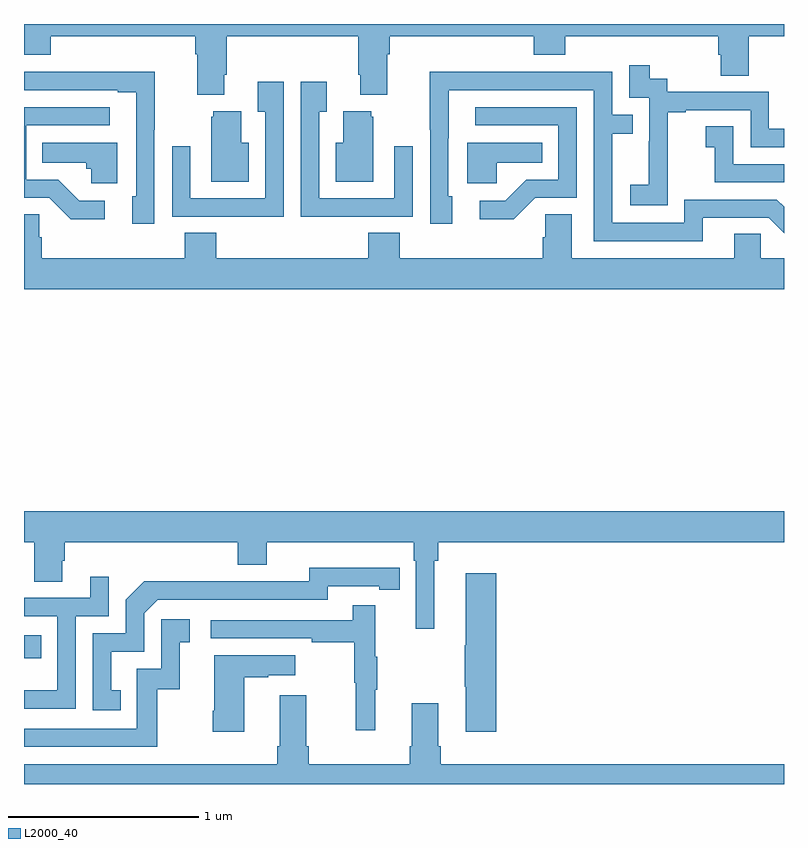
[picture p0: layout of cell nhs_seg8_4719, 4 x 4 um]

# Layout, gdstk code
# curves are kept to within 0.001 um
import gdstk
lib = gdstk.Library(unit=1e-6, precision=1e-09)
def R(c, l, rs):  # rectangles x0, y0, x1, y1
    for r in rs: c.add(gdstk.rectangle(r[:2], r[2:], *l))
def P(c, l, *ps):  # polygons
    for p in ps: c.add(gdstk.Polygon(p, *l))
L2000_40 = (2000, 40)

nhs_seg8_4719 = lib.new_cell('nhs_seg8_4719')
R(nhs_seg8_4719, L2000_40, [(397,1110.561,397.091,1110.684)])
P(nhs_seg8_4719, L2000_40, [(398.053,1113.634),(398.066,1113.634),(398.066,1113.836),(398.759,1113.836),(398.759,1113.634),(398.771,1113.634),(398.771,1113.527),(398.911,1113.527),(398.911,1113.74),(398.924,1113.74),(398.924,1113.836),(399.683,1113.836),(399.683,1113.737),(399.848,1113.737),(399.848,1113.836),(400.655,1113.836),(400.655,1113.738),(400.667,1113.738),(400.667,1113.628),(400.815,1113.628),(400.815,1113.836),(401,1113.836),(401,1113.9),(397,1113.9),(397,1113.737),(397.142,1113.737),(397.142,1113.836),(397.901,1113.836),(397.901,1113.74),(397.913,1113.74),(397.913,1113.527),(398.053,1113.527)],
  [(400.389,1113.151),(400.388,1113.151),(400.388,1113.435),(400.483,1113.435),(400.483,1113.447),(400.824,1113.447),(400.824,1113.252),(401,1113.252),(401,1113.348),(400.92,1113.348),(400.92,1113.543),(400.386,1113.543),(400.386,1113.612),(400.294,1113.612),(400.294,1113.682),(400.185,1113.682),(400.185,1113.513),(400.29,1113.513),(400.29,1113.284),(400.289,1113.284),(400.289,1113.055),(400.191,1113.055),(400.191,1112.945),(400.389,1112.945)],
  [(400.573,1112.88),(400.92,1112.88),(401,1112.8),(401,1112.938),(400.962,1112.976),(400.476,1112.976),(400.476,1112.853),(400.095,1112.853),(400.095,1113.322),(400.205,1113.322),(400.205,1113.423),(400.095,1113.423),(400.095,1113.648),(399.599,1113.648),(399.599,1113.65),(399.136,1113.65),(399.136,1113.343),(399.138,1113.343),(399.138,1112.85),(399.253,1112.85),(399.253,1112.994),(399.234,1112.994),(399.235,1113.552),(399.999,1113.552),(399.999,1112.757),(400.573,1112.757)],
  [(397.686,1113.343),(397.689,1113.343),(397.689,1113.65),(397.225,1113.65),(397.225,1113.648),(397,1113.648),(397,1113.552),(397.493,1113.552),(397.493,1113.54),(397.59,1113.54),(397.59,1112.994),(397.571,1112.994),(397.571,1112.85),(397.686,1112.85)],
  [(398.729,1112.886),(399.045,1112.886),(399.045,1113.256),(398.949,1113.256),(398.949,1112.982),(398.553,1112.982),(398.553,1113.439),(398.593,1113.439),(398.593,1113.595),(398.457,1113.595),(398.457,1112.885),(398.729,1112.885)],
  [(398.367,1113.595),(398.231,1113.595),(398.231,1113.439),(398.271,1113.439),(398.271,1112.982),(397.875,1112.982),(397.875,1113.256),(397.779,1113.256),(397.779,1112.886),(398.095,1112.886),(398.095,1112.885),(398.367,1112.885)],
  [(397.426,1112.97),(397.291,1112.97),(397.18,1113.081),(397.011,1113.081),(397.011,1113.366),(397.45,1113.366),(397.45,1113.462),(397,1113.462),(397,1112.985),(397.134,1112.985),(397.247,1112.873),(397.426,1112.873)],
  [(399.69,1112.985),(399.909,1112.985),(399.909,1113.462),(399.375,1113.462),(399.375,1113.366),(399.813,1113.366),(399.813,1113.081),(399.644,1113.081),(399.533,1112.97),(399.399,1112.97),(399.399,1112.873),(399.577,1112.873)],
  [(398.182,1113.274),(398.143,1113.274),(398.143,1113.442),(397.997,1113.442),(397.997,1113.411),(397.985,1113.411),(397.985,1113.071),(398.182,1113.071)],
  [(398.839,1113.411),(398.828,1113.411),(398.828,1113.442),(398.681,1113.442),(398.681,1113.274),(398.642,1113.274),(398.642,1113.071),(398.839,1113.071)],
  [(401,1113.162),(400.734,1113.162),(400.734,1113.361),(400.587,1113.361),(400.587,1113.251),(400.636,1113.251),(400.636,1113.066),(401,1113.066)],
  [(397.492,1113.274),(397.096,1113.274),(397.096,1113.17),(397.327,1113.17),(397.327,1113.138),(397.353,1113.138),(397.353,1113.062),(397.492,1113.062)],
  [(399.489,1113.17),(399.728,1113.17),(399.728,1113.274),(399.332,1113.274),(399.332,1113.062),(399.489,1113.062)],
  [(401,1112.668),(400.878,1112.668),(400.878,1112.795),(400.739,1112.795),(400.739,1112.668),(399.883,1112.668),(399.883,1112.9),(399.744,1112.9),(399.744,1112.777),(399.731,1112.777),(399.731,1112.668),(398.978,1112.668),(398.978,1112.801),(398.813,1112.801),(398.813,1112.668),(398.012,1112.668),(398.012,1112.801),(397.847,1112.801),(397.847,1112.668),(397.094,1112.668),(397.094,1112.777),(397.08,1112.777),(397.08,1112.9),(397,1112.9),(397,1112.504),(401,1112.504)],
  [(399.16,1111.076),(399.179,1111.076),(399.179,1111.172),(401,1111.172),(401,1111.336),(397,1111.336),(397,1111.172),(397.054,1111.172),(397.054,1110.964),(397.201,1110.964),(397.201,1111.074),(397.214,1111.074),(397.214,1111.172),(398.126,1111.172),(398.126,1111.055),(398.278,1111.055),(398.278,1111.172),(399.05,1111.172),(399.05,1111.076),(399.063,1111.076),(399.063,1110.717),(399.16,1110.717)],
  [(397.508,1110.393),(397.459,1110.393),(397.459,1110.597),(397.632,1110.597),(397.632,1110.798),(397.704,1110.87),(398.598,1110.87),(398.598,1110.942),(398.87,1110.942),(398.87,1110.922),(398.978,1110.922),(398.978,1111.038),(398.502,1111.039),(398.502,1110.966),(398.042,1110.966),(398.042,1110.968),(397.634,1110.968),(397.536,1110.87),(397.536,1110.693),(397.362,1110.693),(397.362,1110.288),(397.508,1110.288)],
  [(399.485,1111.009),(399.326,1111.009),(399.326,1110.629),(399.319,1110.629),(399.319,1110.412),(399.326,1110.412),(399.326,1110.174),(399.485,1110.174)],
  [(397.272,1110.783),(397.446,1110.783),(397.446,1110.991),(397.349,1110.991),(397.349,1110.879),(397,1110.879),(397,1110.783),(397.176,1110.783),(397.176,1110.394),(397,1110.394),(397,1110.297),(397.272,1110.297)],
  [(398.849,1110.395),(398.86,1110.395),(398.86,1110.569),(398.849,1110.569),(398.849,1110.841),(398.731,1110.841),(398.731,1110.762),(397.983,1110.762),(397.983,1110.666),(398.515,1110.666),(398.515,1110.646),(398.739,1110.646),(398.739,1110.432),(398.746,1110.432),(398.746,1110.183),(398.849,1110.183)],
  [(397.702,1110.399),(397.82,1110.399),(397.82,1110.645),(397.873,1110.645),(397.873,1110.766),(397.722,1110.766),(397.722,1110.507),(397.593,1110.507),(397.593,1110.192),(397,1110.192),(397,1110.096),(397.702,1110.096)],
  [(398.158,1110.463),(398.285,1110.463),(398.285,1110.473),(398.428,1110.473),(398.428,1110.577),(398,1110.577),(398,1110.286),(397.993,1110.286),(397.993,1110.174),(398.158,1110.174)],
  [(401,1110.004),(399.194,1110.004),(399.194,1110.1),(399.181,1110.1),(399.181,1110.325),(399.041,1110.325),(399.041,1110.1),(399.029,1110.1),(399.029,1110.004),(398.498,1110.004),(398.498,1110.1),(398.485,1110.1),(398.485,1110.367),(398.345,1110.367),(398.345,1110.1),(398.333,1110.1),(398.333,1110.004),(397,1110.004),(397,1109.9),(401,1109.9)])

lib.write_gds('nhs_seg8_4719.gds')
